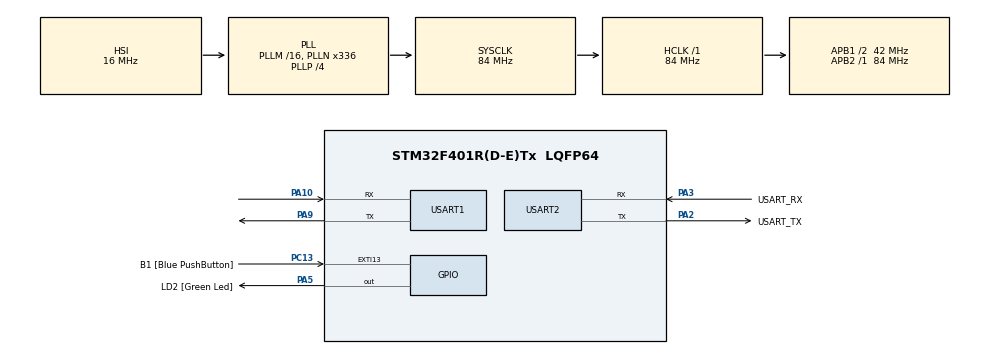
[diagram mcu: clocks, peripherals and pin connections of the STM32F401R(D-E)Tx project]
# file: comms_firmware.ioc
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Mcu.Family=STM32F4
Mcu.Name=STM32F401R(D-E)Tx
Mcu.Package=LQFP64
NVIC.PriorityGroup=NVIC_PRIORITYGROUP_0
PA10.Mode=Asynchronous
PA10.Signal=USART1_RX
PA13.GPIO_Label=TMS
PA13.Mode=Serial_Wire
PA13.Signal=SYS_JTMS-SWDIO
PA14.GPIO_Label=TCK
PA14.Mode=Serial_Wire
PA14.Signal=SYS_JTCK-SWCLK
PA2.GPIO_Label=USART_TX
PA2.GPIO_Mode=GPIO_MODE_AF_PP
PA2.GPIO_PuPd=GPIO_NOPULL
PA2.GPIO_Speed=GPIO_SPEED_FREQ_LOW
PA2.Mode=Asynchronous
PA2.Signal=USART2_TX
PA3.GPIO_Label=USART_RX
PA3.GPIO_Mode=GPIO_MODE_AF_PP
PA3.GPIO_PuPd=GPIO_NOPULL
PA3.GPIO_Speed=GPIO_SPEED_FREQ_LOW
PA3.Mode=Asynchronous
PA3.Signal=USART2_RX
PA5.GPIO_Label=LD2 [Green Led]
PA5.GPIO_Mode=GPIO_MODE_OUTPUT_PP
PA5.GPIO_PuPd=GPIO_NOPULL
PA5.GPIO_Speed=GPIO_SPEED_FREQ_LOW
PA5.Signal=GPIO_Output
PA9.Mode=Asynchronous
PA9.Signal=USART1_TX
PB3.GPIO_Label=SWO
PB3.Signal=SYS_JTDO-SWO
PC13-ANTI_TAMP.GPIO_Label=B1 [Blue PushButton]
PC13-ANTI_TAMP.GPIO_ModeDefaultEXTI=GPIO_MODE_IT_FALLING
PC13-ANTI_TAMP.GPIO_PuPd=GPIO_NOPULL
PC13-ANTI_TAMP.Signal=GPXTI13
PC14-OSC32_IN.Mode=LSE-External-Oscillator
PC14-OSC32_IN.Signal=RCC_OSC32_IN
PC15-OSC32_OUT.Mode=LSE-External-Oscillator
PC15-OSC32_OUT.Signal=RCC_OSC32_OUT
PH0\ -\ OSC_IN.Mode=HSE-External-Clock-Source
PH0\ -\ OSC_IN.Signal=RCC_OSC_IN
PH1\ -\ OSC_OUT.Mode=HSE-External-Clock-Source
PH1\ -\ OSC_OUT.Signal=RCC_OSC_OUT
ProjectManager.HeapSize=0x200
ProjectManager.StackSize=0x400
ProjectManager.TargetToolchain=SW4STM32
RCC.48MHZClocksFreq_Value=48000000
RCC.AHBFreq_Value=84000000
RCC.APB1CLKDivider=RCC_HCLK_DIV2
RCC.APB1Freq_Value=42000000
RCC.APB1TimFreq_Value=84000000
RCC.APB2Freq_Value=84000000
RCC.APB2TimFreq_Value=84000000
RCC.CortexFreq_Value=84000000
RCC.HCLKFreq_Value=84000000
RCC.HSE_VALUE=8000000
RCC.HSI_VALUE=16000000
RCC.PLLN=336
RCC.PLLP=RCC_PLLP_DIV4
RCC.PLLQ=7
RCC.SYSCLKFreq_VALUE=84000000
RCC.SYSCLKSource=RCC_SYSCLKSOURCE_PLLCLK
RCC.VCOOutputFreq_Value=336000000
USART1.VirtualMode=VM_ASYNC
USART2.VirtualMode=VM_ASYNC
board=NUCLEO-F401RE

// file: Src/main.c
/**
  ******************************************************************************
  * @file           : main.c
  * @brief          : Main program body
  ******************************************************************************
  ** This notice applies to any and all portions of this file
  * that are not between comment pairs USER CODE BEGIN and
  * USER CODE END. Other portions of this file, whether
  * inserted by the user or by software development tools
  * are owned by their respective copyright owners.
  *
  * COPYRIGHT(c) 2018 STMicroelectronics
  *
  * Redistribution and use in source and binary forms, with or without modification,
  * are permitted provided that the following conditions are met:
  *   1. Redistributions of source code must retain the above copyright notice,
  *      this list of conditions and the following disclaimer.
  *   2. Redistributions in binary form must reproduce the above copyright notice,
  *      this list of conditions and the following disclaimer in the documentation
  *      and/or other materials provided with the distribution.
  *   3. Neither the name of STMicroelectronics nor the names of its contributors
  *      may be used to endorse or promote products derived from this software
  *      without specific prior written permission.
  *
  * THIS SOFTWARE IS PROVIDED BY THE COPYRIGHT HOLDERS AND CONTRIBUTORS "AS IS"
  * AND ANY EXPRESS OR IMPLIED WARRANTIES, INCLUDING, BUT NOT LIMITED TO, THE
  * IMPLIED WARRANTIES OF MERCHANTABILITY AND FITNESS FOR A PARTICULAR PURPOSE ARE
  * DISCLAIMED. IN NO EVENT SHALL THE COPYRIGHT HOLDER OR CONTRIBUTORS BE LIABLE
  * FOR ANY DIRECT, INDIRECT, INCIDENTAL, SPECIAL, EXEMPLARY, OR CONSEQUENTIAL
  * DAMAGES (INCLUDING, BUT NOT LIMITED TO, PROCUREMENT OF SUBSTITUTE GOODS OR
  * SERVICES; LOSS OF USE, DATA, OR PROFITS; OR BUSINESS INTERRUPTION) HOWEVER
  * CAUSED AND ON ANY THEORY OF LIABILITY, WHETHER IN CONTRACT, STRICT LIABILITY,
  * OR TORT (INCLUDING NEGLIGENCE OR OTHERWISE) ARISING IN ANY WAY OUT OF THE USE
  * OF THIS SOFTWARE, EVEN IF ADVISED OF THE POSSIBILITY OF SUCH DAMAGE.
  *
  ******************************************************************************
  */
#include "main.h"
#include "string.h"
#include "stm32f4xx_hal.h"
#include "pymem.h"
#include "ax25.h"

UART_HandleTypeDef huart1;
UART_HandleTypeDef huart2;

/* USER CODE BEGIN PV */
/* Private variables ---------------------------------------------------------*/
#define MEM_SIZE 32000

/* USER CODE END PV */

void SystemClock_Config(void);
static void MX_GPIO_Init(void);
static void MX_USART2_UART_Init(void);
static void MX_USART1_UART_Init(void);

/* USER CODE BEGIN PFP */
/* Private function prototypes -----------------------------------------------*/

static void format_pkt(uint8_t *data, uint8_t *out, uint8_t txcnt);
static void send_mem(void);
static void send_pkt(uint8_t *data);

/* USER CODE END PFP */

int main(void)
{

  /* MCU Configuration----------------------------------------------------------*/

  /* Reset of all peripherals, Initializes the Flash interface and the Systick. */
  HAL_Init();

  /* Configure the system clock */
  SystemClock_Config();

  /* Initialize all configured peripherals */
  MX_GPIO_Init();
  MX_USART2_UART_Init();
  MX_USART1_UART_Init();
  /* USER CODE BEGIN 2 */

/*
TODO:
listen for ground
take packet and send it to cdh
listen to cdh
format packet and send it back to ground
*/

  // size[0]=sizeof(outbuff);
  // HAL_UART_Transmit(&huart2,size,1,100);
  // HAL_Delay(100);
  // HAL_UART_Transmit(&huart2,outbuff,sizeof(outbuff),100);

/*  PACKET TESTING
  write_pkt(payload,10,sizeof(payload));
  request_pkt(recv_buffer,5,sizeof(recv_buffer));
  HAL_Delay(100);
  ser_print(recv_buffer,sizeof(recv_buffer));
*/
// sertest();
csdcdemo();

  /* USER CODE END 2 */

  /* Infinite loop */
  while (1)
  {
  //HAL_UART_Receive(&huart2, num, sizeof(num), 100000);
  //num[0]++;
//  HAL_UART_Transmit(&huart2, out,sizeof(num), 100);
   }

}

void SystemClock_Config(void)
{

  RCC_OscInitTypeDef RCC_OscInitStruct;
  RCC_ClkInitTypeDef RCC_ClkInitStruct;

    /**Configure the main internal regulator output voltage
    */
  __HAL_RCC_PWR_CLK_ENABLE();

  __HAL_PWR_VOLTAGESCALING_CONFIG(PWR_REGULATOR_VOLTAGE_SCALE2);

    /**Initializes the CPU, AHB and APB busses clocks
    */
  RCC_OscInitStruct.OscillatorType = RCC_OSCILLATORTYPE_HSI;
  RCC_OscInitStruct.HSIState = RCC_HSI_ON;
  RCC_OscInitStruct.HSICalibrationValue = 16;
  RCC_OscInitStruct.PLL.PLLState = RCC_PLL_ON;
  RCC_OscInitStruct.PLL.PLLSource = RCC_PLLSOURCE_HSI;
  RCC_OscInitStruct.PLL.PLLM = 16;
  RCC_OscInitStruct.PLL.PLLN = 336;
  RCC_OscInitStruct.PLL.PLLP = RCC_PLLP_DIV4;
  RCC_OscInitStruct.PLL.PLLQ = 7;
  if (HAL_RCC_OscConfig(&RCC_OscInitStruct) != HAL_OK)
  {
    _Error_Handler(__FILE__, __LINE__);
  }

    /**Initializes the CPU, AHB and APB busses clocks
    */
  RCC_ClkInitStruct.ClockType = RCC_CLOCKTYPE_HCLK|RCC_CLOCKTYPE_SYSCLK
                              |RCC_CLOCKTYPE_PCLK1|RCC_CLOCKTYPE_PCLK2;
  RCC_ClkInitStruct.SYSCLKSource = RCC_SYSCLKSOURCE_PLLCLK;
  RCC_ClkInitStruct.AHBCLKDivider = RCC_SYSCLK_DIV1;
  RCC_ClkInitStruct.APB1CLKDivider = RCC_HCLK_DIV2;
  RCC_ClkInitStruct.APB2CLKDivider = RCC_HCLK_DIV1;

  if (HAL_RCC_ClockConfig(&RCC_ClkInitStruct, FLASH_LATENCY_2) != HAL_OK)
  {
    _Error_Handler(__FILE__, __LINE__);
  }

    /**Configure the Systick interrupt time
    */
  HAL_SYSTICK_Config(HAL_RCC_GetHCLKFreq()/1000);

    /**Configure the Systick
    */
  HAL_SYSTICK_CLKSourceConfig(SYSTICK_CLKSOURCE_HCLK);

  /* SysTick_IRQn interrupt configuration */
  HAL_NVIC_SetPriority(SysTick_IRQn, 0, 0);
}

/* USART1 init function */
static void MX_USART1_UART_Init(void)
{

  huart1.Instance = USART1;
  huart1.Init.BaudRate = 115200;
  huart1.Init.WordLength = UART_WORDLENGTH_8B;
  huart1.Init.StopBits = UART_STOPBITS_1;
  huart1.Init.Parity = UART_PARITY_NONE;
  huart1.Init.Mode = UART_MODE_TX_RX;
  huart1.Init.HwFlowCtl = UART_HWCONTROL_NONE;
  huart1.Init.OverSampling = UART_OVERSAMPLING_16;
  if (HAL_UART_Init(&huart1) != HAL_OK)
  {
    _Error_Handler(__FILE__, __LINE__);
  }

}

/* USART2 init function */
static void MX_USART2_UART_Init(void)
{

  huart2.Instance = USART2;
  huart2.Init.BaudRate = 115200;
  huart2.Init.WordLength = UART_WORDLENGTH_8B;
  huart2.Init.StopBits = UART_STOPBITS_1;
  huart2.Init.Parity = UART_PARITY_NONE;
  huart2.Init.Mode = UART_MODE_TX_RX;
  huart2.Init.HwFlowCtl = UART_HWCONTROL_NONE;
  huart2.Init.OverSampling = UART_OVERSAMPLING_16;
  if (HAL_UART_Init(&huart2) != HAL_OK)
  {
    _Error_Handler(__FILE__, __LINE__);
  }

}

/** Configure pins as
        * Analog
        * Input
        * Output
        * EVENT_OUT
        * EXTI
*/
static void MX_GPIO_Init(void)
{

  GPIO_InitTypeDef GPIO_InitStruct;

  /* GPIO Ports Clock Enable */
  __HAL_RCC_GPIOC_CLK_ENABLE();
  __HAL_RCC_GPIOH_CLK_ENABLE();
  __HAL_RCC_GPIOA_CLK_ENABLE();
  __HAL_RCC_GPIOB_CLK_ENABLE();

  /*Configure GPIO pin Output Level */
  HAL_GPIO_WritePin(LD2_GPIO_Port, LD2_Pin, GPIO_PIN_RESET);

  /*Configure GPIO pin : B1_Pin */
  GPIO_InitStruct.Pin = B1_Pin;
  GPIO_InitStruct.Mode = GPIO_MODE_IT_FALLING;
  GPIO_InitStruct.Pull = GPIO_NOPULL;
  HAL_GPIO_Init(B1_GPIO_Port, &GPIO_InitStruct);

  /*Configure GPIO pin : LD2_Pin */
  GPIO_InitStruct.Pin = LD2_Pin;
  GPIO_InitStruct.Mode = GPIO_MODE_OUTPUT_PP;
  GPIO_InitStruct.Pull = GPIO_NOPULL;
  GPIO_InitStruct.Speed = GPIO_SPEED_FREQ_LOW;
  HAL_GPIO_Init(LD2_GPIO_Port, &GPIO_InitStruct);

}

/* USER CODE BEGIN 4 */

static void send_mem(void){

  int n=0;
  int size=256;
  int txcnt=0;
  uint8_t info[256];
  uint8_t out_pkt[258];

  while (n<MEM_SIZE){

    if(n+256>MEM_SIZE) size=MEM_SIZE-n+256;

    request_pkt(info,n,size);

    format_pkt(info,out_pkt,txcnt);

    send_pkt(out_pkt);

    txcnt++;
    if(txcnt>7)txcnt=0;
    n=n+256;

    HAL_Delay(100);

  }

  return;

}

static void send_pkt(uint8_t *out){

  HAL_UART_Transmit(&huart2, out,30, 100);

  return;
}

static void format_pkt(uint8_t *data, uint8_t *out, uint8_t txcnt){

  uint8_t rxcnt=txcnt+1;
  uint8_t i;

  memset((char*)data,'\n',sizeof(data));

  if (rxcnt>7) rxcnt=0;

  out[0]=txcnt;
  out[1]=rxcnt;
  for(i=0;i<sizeof(out);i++){
    out[i+2]=data[i];
  }

  return;

}

/* USER CODE END 4 */

void _Error_Handler(char *file, int line)
{
  while(1)
  {
  }
}

/************************ (C) COPYRIGHT STMicroelectronics *****END OF FILE****/
